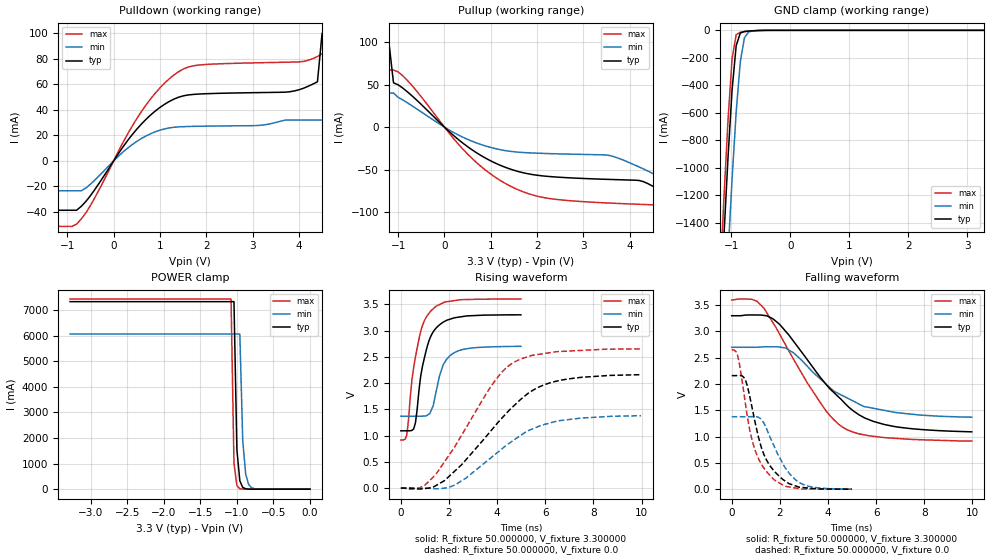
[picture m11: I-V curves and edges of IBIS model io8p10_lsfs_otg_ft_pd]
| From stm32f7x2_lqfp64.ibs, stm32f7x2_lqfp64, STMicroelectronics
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|   Model io8p10_lsfs_otg_ft_pd
[Model]  io8p10_lsfs_otg_ft_pd
Model_type I/O
Polarity   Non-Inverting
Enable   Active-Low
Vinl =   0.990000V
Vinh =   2.310000V
Vmeas =  1.650000V
Cref =   40.000000pF
Rref =   100.000000M
Vref =   0.0V
C_comp   8.196500pF   7.968500pF   8.492600pF
[Temperature Range]   25.000000   0.125000k   -40.000000
[Pullup Reference]   3.300000V   2.700000V   3.600000V
[Pulldown Reference]   0.0V   0.0V   0.0V
[POWER Clamp Reference]   3.300000V   2.700000V   3.600000V
[GND Clamp Reference]   0.0V   0.0V   0.0V
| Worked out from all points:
|   slope of the pulldown table from 0 to 0.495 V, typ, clamps not added: 20.1 ohm
|   slope of the pullup table from 0 to 0.495 V, typ, clamps not added: 21.8 ohm
|   GND clamp passes 1 mA (typ) near -0.52 V on its own axis
|   POWER clamp passes 1 mA (typ) near -0.81 V on its own axis
|   rising waveform, R_fixture 50.000000, V_fixture 3.300000: 20-80 % time 529ps typ, 501ps min, 532ps max; typ from 1.09 V to 3.3 V
|   rising waveform, R_fixture 50.000000, V_fixture 0.0: 20-80 % time 2.59ns typ, 2.4ns min, 2.18ns max; typ from 0 V to 2.16 V
|   falling waveform, R_fixture 50.000000, V_fixture 3.300000: 20-80 % time 2.44ns typ, 2.27ns min, 2.13ns max; typ from 3.3 V to 1.09 V
|   falling waveform, R_fixture 50.000000, V_fixture 0.0: 20-80 % time 846ps typ, 950ps min, 755ps max; typ from 2.16 V to 0 V
[Pulldown]
|Voltage   I(typ)   I(min)   I(max)
-3.3V     -38.65mA   -23.43mA   -51.3mA
-800mV    -38.65mA   -23.43mA   -49.55mA
600mV     28.88mA    17.56mA    38.65mA
1.4V      49.88mA    26.66mA    69.84mA
4.1V      56.96mA    32mA       77.99mA
4.4V      62mA       32mA       81.8mA
4.5V      100mA      32mA       83.9mA
4.7V      100mA      32mA       89mA
4.8V      100mA      32mA       100mA
5.1V      100mA      32mA       100mA
5.2V      1A         1A         100mA
6.6V      1A         1A         1A
[Pullup]
|Voltage   I(typ)   I(min)   I(max)
-3.3V     100mA      1A         67mA
-1.6V     100mA      1A         67mA
-1.5V     100mA      40mA       67mA
-1.2V     100mA      40mA       67mA
-1.1V     52mA       40mA       67mA
800mV     -33.66mA   -20.62mA   -46.63mA
2V        -56.45mA   -30.57mA   -80.98mA
3.5V      -61.24mA   -32.71mA   -88.93mA
4.2V      -62.54mA   -46.6mA    -90.53mA
4.9V      -81.9mA    -65mA      -102.4mA
5.5V      -103mA     -65mA      -126.2mA
6.6V      -103mA     -65mA      -139mA
[GND_clamp]
|Voltage   I(typ)   I(min)   I(max)
-3.3V     -9.479A    -9.465A    -9.974A
-1.2V     -2.125A    -2.854A    -1.857A
-1.13V    -1.511A    -2.236A    -1.236A
-1.06V    -933.3mA   -1.641A    -660.9mA
-990mV    -433.3mA   -1.082A    -207mA
-920mV    -110.3mA   -591mA     -31.46mA
-850mV    -19.8mA    -226.8mA   -13.66mA
-780mV    -8.323mA   -53.94mA   -9.521mA
-710mV    -5.297mA   -11.95mA   -6.277mA
-640mV    -3.244mA   -4.292mA   -3.591mA
3.28V     81.28uA    57.87uA    93.98uA
[POWER_clamp]
|Voltage   I(typ)   I(min)   I(max)
-3.28V    7.328A     6.064A     7.43A
-1.08V    7.328A     6.064A     7.43A
-1.04V    7.328A     6.064A     1.015A
-1V       1.545A     6.064A     138.6mA
-960mV    325.6mA    6.064A     18.93mA
-920mV    68.64mA    1.89A      2.585mA
-880mV    14.47mA    589mA      353uA
-840mV    3.05mA     183.6mA    105.2uA
-800mV    642.9uA    57.21mA    105.2uA
-720mV    28.59uA    5.557mA    105.2uA
0V        0A         0A         0A
[Ramp]
| variable   typ   min   max
dV/dt_r  1.28393/2.58462n   0.82050/2.38831n   1.58725/2.18727n
dV/dt_f  1.30050/2.41767n   0.78300/2.25179n   1.59746/2.12518n
R_load = 50.000000
[Rising Waveform]
R_fixture= 50.000000
V_fixture= 3.300000
V_fixture_min= 2.700000
V_fixture_max= 3.600000
|time   V(typ)   V(min)   V(max)
0s        1.09V      1.369V     914.2mV
250.2ps   1.09V      1.369V     1.024V
460.5ps   1.099V     1.369V     2.067V
540.5ps   1.138V     1.369V     2.319V
610.6ps   1.26V      1.369V     2.506V
900.9ps   2.326V     1.37V      3.1V
1.251ns   2.897V     1.471V     3.375V
1.752ns   3.158V     2.339V     3.527V
2.142ns   3.231V     2.557V     3.564V
4.985ns   3.299V     2.699V     3.599V
[Rising Waveform]
R_fixture= 50.000000
V_fixture= 0.0
V_fixture_min= 0.0
V_fixture_max= 0.0
|time   V(typ)   V(min)   V(max)
0s        34.9uV     19.61uV    -14.06uV
760.8ps   -17.13mV   32.35uV    1.998mV
1.441ns   43.9mV     -12.78mV   254mV
2.242ns   325.6mV    58.2mV     790.5mV
3.704ns   1.071V     562.9mV    1.909V
4.224ns   1.345V     756.3mV    2.22V
4.705ns   1.571V     918mV      2.398V
5.526ns   1.874V     1.138V     2.533V
6.466ns   2.036V     1.273V     2.597V
9.97ns    2.159V     1.378V     2.651V
[Falling Waveform]
R_fixture= 50.000000
V_fixture= 3.300000
V_fixture_min= 2.700000
V_fixture_max= 3.600000
|time   V(typ)   V(min)   V(max)
0s        3.299V     2.699V     3.599V
840.8ps   3.313V     2.699V     3.61V
1.341ns   3.305V     2.708V     3.441V
1.982ns   3.138V     2.703V     2.956V
2.543ns   2.829V     2.602V     2.491V
3.904ns   2.003V     2.004V     1.498V
4.625ns   1.67V      1.775V     1.175V
5.285ns   1.415V     1.62V      1.054V
6.326ns   1.231V     1.5V       981.5mV
9.97ns    1.09V      1.369V     914.2mV
[Falling Waveform]
R_fixture= 50.000000
V_fixture= 0.0
V_fixture_min= 0.0
V_fixture_max= 0.0
|time   V(typ)   V(min)   V(max)
0s        2.159V     1.378V     2.651V
250.2ps   2.161V     1.378V     2.534V
580.6ps   2.062V     1.378V     1.591V
750.8ps   1.763V     1.379V     1.119V
961ps     1.296V     1.378V     756.1mV
1.231ns   793.9mV    1.324V     477.8mV
1.522ns   494.6mV    1.068V     294mV
2.192ns   163.3mV    427.6mV    59.33mV
2.763ns   43.53mV    140.5mV    12.38mV
4.985ns   34.9uV     19.61uV    -14.06uV
